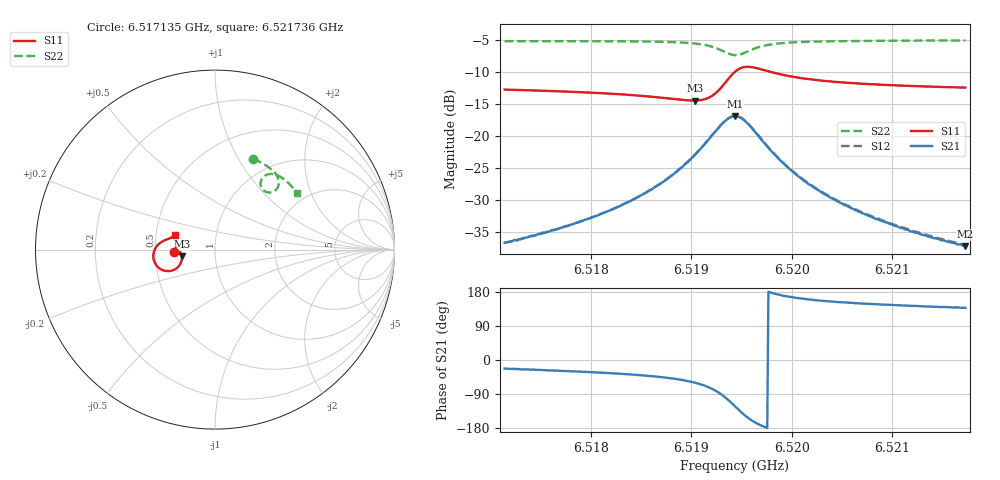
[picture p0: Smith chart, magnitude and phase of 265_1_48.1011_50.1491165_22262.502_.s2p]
#  HZ  S  RI  R  50.00
! Rohde & Schwarz Vector Network Analyzer
! Rohde-Schwarz,ZNB20-2Port,1311601062101988,3.16
! Created: UTC 12/23/2023, 4:01:11 AM
! freq[Hz]  re:S11  im:S11  re:S21  im:S21  re:S12  im:S12  re:S22  im:S22
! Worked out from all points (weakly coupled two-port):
!   401 points, 6.517135 GHz to 6.521736 GHz, reference 50 ohm
!   highest |S21| = -16.95 dB at 6.519435 GHz (marker M1); lowest = -37.2 dB at 6.521736 GHz (marker M2)
!   lowest |S11| = -14.5 dB at 6.519033 GHz (marker M3), VSWR 1.47, Z = 34.3 - j2.58 ohm
!   |S11| at or under -10 dB: start of sweep to 6.519434 GHz; 6.519789 GHz to end of sweep
!   |S22| runs from -7.4 to -5.1 dB; largest |S21 - S12| = 0.0043
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6.5171347e9  -0.2294 -0.0143  0.0135 -0.00564  0.0137 -0.00519  0.2128 0.5055
6.5175602e9  -0.2243 -0.00824  0.0158 -0.00815  0.016 -0.00766  0.244 0.4916
6.5179053e9  -0.219 -0.0045  0.0186 -0.0111  0.019 -0.0105  0.2695 0.4781
6.5183539e9  -0.2096 -0.00322  0.0238 -0.0182  0.0245 -0.0176  0.3033 0.4558
6.518676e9  -0.1992 -0.00831  0.0296 -0.0291  0.0308 -0.0284  0.3284 0.4338
6.51886e9  -0.1918 -0.0175  0.0337 -0.0411  0.0352 -0.0402  0.3425 0.4155
6.5190325e9  -0.1851 -0.0362  0.0358 -0.061  0.0379 -0.0604  0.3538 0.3904
6.519136e9  -0.1851 -0.0564  0.0324 -0.0805  0.0349 -0.0801  0.3557 0.3689
6.5192166e9  -0.1927 -0.0786  0.0224 -0.1006  0.0255 -0.1006  0.3503 0.348
6.5193431e9  -0.2367 -0.1159  -0.0226 -0.1299  -0.019 -0.1315  0.3155 0.3192
6.5193891e9  -0.2655 -0.1196  -0.0491 -0.1303  -0.0458 -0.1327  0.2948 0.3186
6.5194351e9  -0.2964 -0.1121  -0.0759 -0.1201  -0.073 -0.1234  0.2741 0.3272
6.5194811e9  -0.3222 -0.0928  -0.0968 -0.1006  -0.0946 -0.104  0.2596 0.3441
6.5195386e9  -0.3403 -0.0604  -0.1092 -0.0702  -0.1081 -0.074  0.2536 0.3694
6.5196421e9  -0.3393 -0.00847  -0.1026 -0.0259  -0.1028 -0.0291  0.2685 0.4035
6.5197342e9  -0.3242 0.0193  -0.0865 -0.00462  -0.0872 -0.00711  0.2895 0.4171
6.5199642e9  -0.2903 0.047  -0.055 0.0124  -0.0561 0.011  0.3315 0.4192
6.5202057e9  -0.2693 0.0563  -0.0376 0.0146  -0.0385 0.0138  0.3602 0.408
6.5205393e9  -0.2528 0.0626  -0.0253 0.0135  -0.026 0.0131  0.3887 0.3887
6.5209764e9  -0.2395 0.069  -0.017 0.0117  -0.0176 0.0113  0.4175 0.3628
6.52131e9  -0.2323 0.0735  -0.0133 0.0104  -0.0138 0.0102  0.4363 0.3425
6.5217355e9  -0.2247 0.0792  -0.0102 0.00926  -0.0106 0.00916  0.4574 0.3161
